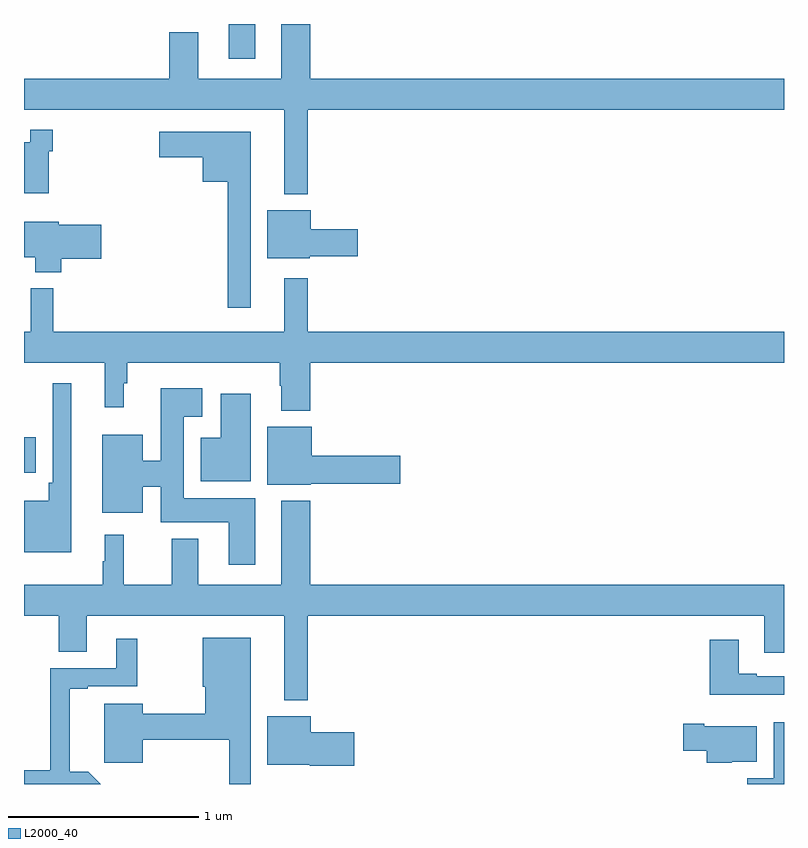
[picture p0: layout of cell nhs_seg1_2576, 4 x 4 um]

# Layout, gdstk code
import gdstk
lib = gdstk.Library(unit=1e-6, precision=1e-09)
def R(c, l, rs):  # rectangles x0, y0, x1, y1
    for r in rs: c.add(gdstk.rectangle(r[:2], r[2:], *l))
def P(c, l, *ps):  # polygons
    for p in ps: c.add(gdstk.Polygon(p, *l))
L2000_40 = (2000, 40)

nhs_seg1_2576 = lib.new_cell('nhs_seg1_2576')
R(nhs_seg1_2576, L2000_40, [(251,533.837,251.062,534.025), (252.077,536.016,252.217,536.199)])
P(nhs_seg1_2576, L2000_40, [(252.493,535.748),(255,535.748),(255,535.912),(252.506,535.912),(252.506,536.199),(252.353,536.199),(252.353,535.912),(251.917,535.912),(251.917,536.155),(251.765,536.155),(251.765,535.912),(251,535.912),(251,535.748),(252.371,535.748),(252.371,535.304),(252.493,535.304)],
  [(251.13,535.529),(251.15,535.529),(251.15,535.642),(251.033,535.642),(251.033,535.576),(251,535.576),(251,535.307),(251.13,535.307)],
  [(252.193,535.633),(251.712,535.633),(251.712,535.499),(251.942,535.499),(251.942,535.37),(252.072,535.37),(252.072,534.705),(252.193,534.705)],
  [(252.504,534.976),(252.757,534.976),(252.757,535.118),(252.508,535.118),(252.508,535.219),(252.281,535.219),(252.281,534.965),(252.504,534.965)],
  [(251.195,534.964),(251.407,534.964),(251.407,535.142),(251.182,535.142),(251.182,535.159),(251,535.159),(251,534.971),(251.06,534.971),(251.06,534.893),(251.195,534.893)],
  [(252.506,534.416),(255,534.416),(255,534.58),(252.493,534.58),(252.493,534.862),(252.371,534.862),(252.371,534.58),(251.153,534.58),(251.153,534.808),(251.036,534.808),(251.036,534.58),(251,534.58),(251,534.416),(251.426,534.416),(251.426,534.183),(251.525,534.183),(251.525,534.308),(251.543,534.308),(251.543,534.416),(252.346,534.416),(252.346,534.296),(252.353,534.296),(252.353,534.164),(252.506,534.164)],
  [(251.248,534.307),(251.151,534.307),(251.151,533.785),(251.131,533.785),(251.131,533.689),(251,533.689),(251,533.42),(251.248,533.42)],
  [(252.217,533.704),(251.842,533.704),(251.842,534.131),(251.938,534.131),(251.938,534.283),(251.72,534.283),(251.72,533.9),(251.626,533.9),(251.626,534.037),(251.411,534.037),(251.411,533.627),(251.626,533.627),(251.626,533.764),(251.72,533.764),(251.72,533.576),(252.077,533.576),(252.077,533.352),(252.217,533.352)],
  [(252.193,534.253),(252.035,534.253),(252.035,534.022),(251.93,534.022),(251.93,533.792),(252.193,533.792)],
  [(252.51,533.78),(252.979,533.78),(252.979,533.927),(252.514,533.927),(252.514,534.079),(252.281,534.079),(252.281,533.774),(252.51,533.774)],
  [(252.493,533.084),(254.897,533.084),(254.897,532.89),(255,532.89),(255,533.248),(252.506,533.248),(252.506,533.689),(252.353,533.689),(252.353,533.248),(251.917,533.248),(251.917,533.491),(251.777,533.491),(251.777,533.248),(251.526,533.248),(251.526,533.512),(251.426,533.512),(251.426,533.372),(251.415,533.372),(251.415,533.248),(251,533.248),(251,533.084),(251.182,533.084),(251.182,532.894),(251.329,532.894),(251.329,533.084),(252.371,533.084),(252.371,532.64),(252.493,532.64)],
  [(252.193,532.969),(251.942,532.969),(251.942,532.71),(251.954,532.71),(251.954,532.568),(251.626,532.568),(251.626,532.621),(251.423,532.621),(251.423,532.311),(251.626,532.311),(251.626,532.432),(252.079,532.432),(252.079,532.199),(252.193,532.199)],
  [(251.339,532.264),(251.24,532.264),(251.24,532.701),(251.335,532.701),(251.335,532.713),(251.596,532.713),(251.596,532.963),(251.486,532.963),(251.486,532.809),(251.137,532.809),(251.137,532.271),(251,532.271),(251,532.199),(251.404,532.199)],
  [(255,532.767),(254.857,532.767),(254.857,532.78),(254.761,532.78),(254.761,532.957),(254.609,532.957),(254.609,532.67),(255,532.67)],
  [(252.739,532.472),(252.508,532.472),(252.508,532.555),(252.281,532.555),(252.281,532.301),(252.504,532.301),(252.504,532.294),(252.739,532.294)],
  [(255,532.525),(254.945,532.525),(254.945,532.228),(254.806,532.228),(254.806,532.199),(255,532.199)],
  [(254.724,532.316),(254.857,532.316),(254.857,532.504),(254.581,532.504),(254.581,532.517),(254.469,532.517),(254.469,532.375),(254.594,532.375),(254.594,532.31),(254.724,532.31)])

lib.write_gds('nhs_seg1_2576.gds')
